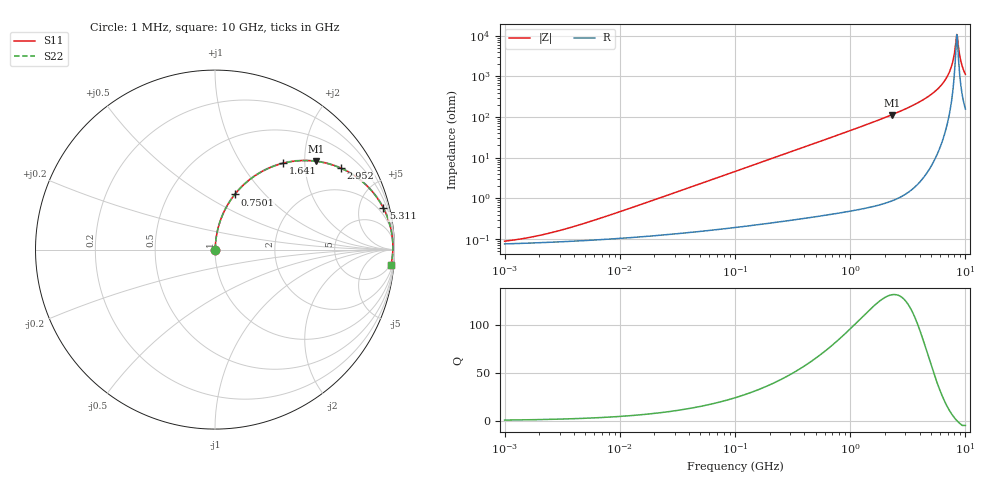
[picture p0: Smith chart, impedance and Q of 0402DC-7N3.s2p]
# MHz  S  MA  R  50
!Freq  MagS11  AngS11  MagS21  AngS21  MagS12  AngS12  MagS22  AngS22
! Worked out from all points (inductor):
!   801 points, 1 MHz to 10 GHz, reference 50 ohm
!   read as one part in series: L = 7.3 nH near 6.238 MHz
!   highest Q = 131 at 2.292 GHz (marker M1), where L = 7.88 nH
!   self-resonance near 8.418 GHz
!   S11 on the Smith chart (normalised r, x): 1 MHz: 1.00, +0.00; 750.1 MHz: 1.01, +0.69; 1.641 GHz: 1.01, +1.56; 2.952 GHz: 1.02, +3.09; 5.311 GHz: 1.16, +8.07; 10 GHz: 4, -22
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1  0.0008862 31.1  0.9992 -0.0  0.9992 -0.0  0.0008862 31.1
2.06545  0.001249 49.2  0.9992 -0.1  0.9992 -0.1  0.001249 49.2
4.67769  0.002328 66.9  0.9991 -0.1  0.9991 -0.1  0.002328 66.9
21.6303  0.009984 82.4  0.9987 -0.6  0.9987 -0.6  0.009984 82.4
100.0216  0.04579 85.0  0.997 -2.6  0.997 -2.6  0.04579 85.0
467.8699  0.2098 77.0  0.9744 -12.1  0.9744 -12.1  0.2098 77.0
750.1269  0.3265 70.2  0.9412 -19.1  0.9412 -19.1  0.3265 70.2
1641.159  0.6137 51.7  0.7844 -37.9  0.7844 -37.9  0.6137 51.7
2163.497  0.7253 43.1  0.6829 -46.5  0.6829 -46.5  0.7253 43.1
2291.698  0.7475 41.2  0.6586 -48.4  0.6586 -48.4  0.7475 41.2
2952.314  0.8362 32.8  0.5419 -56.7  0.5419 -56.7  0.8362 32.8
4122.583  0.9241 21.8  0.372 -67.5  0.372 -67.5  0.9241 21.8
5310.979  0.9661 13.9  0.2395 -75.0  0.2395 -75.0  0.9661 13.9
6312.161  0.9829 8.6  0.1496 -79.2  0.1496 -79.2  0.9829 8.6
7082.399  0.989 5.2  0.09023 -80.4  0.09023 -80.4  0.989 5.2
7588.952  0.9908 3.1  0.05497 -78.8  0.05497 -78.8  0.9908 3.1
8131.735  0.9912 1.1  0.02086 -64.5  0.02086 -64.5  0.9912 1.1
8417.515  0.9909 0.1  0.009214 -8.2  0.009214 -8.2  0.9909 0.1
8713.339  0.9902 -0.9  0.01897 58.4  0.01897 58.4  0.9902 -0.9
9124.006  0.9887 -2.3  0.04118 73.0  0.04118 73.0  0.9887 -2.3
9444.659  0.9872 -3.3  0.05851 75.8  0.05851 75.8  0.9872 -3.3
10000  0.984 -5.0  0.08741 77.0  0.08741 77.0  0.984 -5.0
